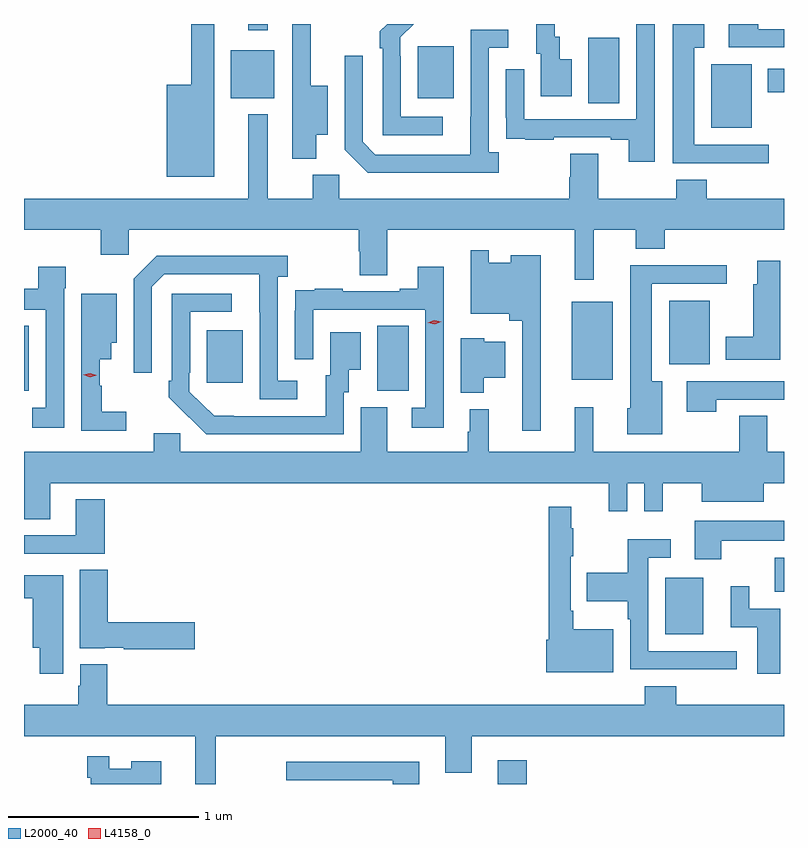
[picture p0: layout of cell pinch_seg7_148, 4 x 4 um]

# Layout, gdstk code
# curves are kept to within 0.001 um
import gdstk
lib = gdstk.Library(unit=1e-6, precision=1e-09)
def R(c, l, rs):  # rectangles x0, y0, x1, y1
    for r in rs: c.add(gdstk.rectangle(r[:2], r[2:], *l))
def P(c, l, *ps):  # polygons
    for p in ps: c.add(gdstk.Polygon(p, *l))
L2000_40 = (2000, 40)
L4158_0 = (4158, 0)

pinch_seg7_148 = lib.new_cell('pinch_seg7_148')
R(pinch_seg7_148, L2000_40, [(1037.345,1009.688,1037.498,1009.813), (1038.227,1010.477,1038.427,1010.773), (1038.803,1010.699,1038.852,1010.878), (1034.852,1011.757,1034.878,1012.1), (1036.712,1011.757,1036.876,1012.1), (1035.815,1011.801,1036.003,1012.075), (1037.735,1011.815,1037.95,1012.225), (1038.248,1011.896,1038.46,1012.231), (1038.47,1013.141,1038.682,1013.476), (1037.822,1013.272,1037.986,1013.616), (1035.941,1013.297,1036.168,1013.551), (1036.925,1013.297,1037.113,1013.572), (1038.767,1013.33,1038.852,1013.452), (1036.031,1013.655,1036.135,1013.688)])
P(pinch_seg7_148, L2000_40, [(1038.772,1013.052),(1038.379,1013.052),(1038.379,1013.564),(1038.433,1013.564),(1038.433,1013.688),(1038.266,1013.688),(1038.266,1012.955),(1038.772,1012.955)],
  [(1038.171,1013.688),(1038.075,1013.688),(1038.075,1013.187),(1037.484,1013.187),(1037.484,1013.449),(1037.388,1013.449),(1037.388,1013.194),(1037.389,1013.194),(1037.389,1013.085),(1037.491,1013.085),(1037.491,1013.079),(1037.639,1013.079),(1037.639,1013.091),(1037.939,1013.091),(1037.939,1013.079),(1038.035,1013.079),(1038.035,1012.962),(1038.171,1012.962)],
  [(1037.734,1013.503),(1037.671,1013.503),(1037.671,1013.622),(1037.646,1013.622),(1037.646,1013.688),(1037.549,1013.688),(1037.549,1013.532),(1037.573,1013.532),(1037.573,1013.307),(1037.734,1013.307)],
  [(1035.853,1013.688),(1035.732,1013.688),(1035.732,1013.368),(1035.602,1013.368),(1035.602,1012.883),(1035.853,1012.883)],
  [(1037.055,1013.199),(1036.836,1013.199),(1036.836,1013.519),(1036.833,1013.519),(1036.833,1013.619),(1036.902,1013.688),(1036.764,1013.688),(1036.725,1013.649),(1036.725,1013.561),(1036.74,1013.561),(1036.74,1013.103),(1037.055,1013.103)],
  [(1036.39,1013.105),(1036.45,1013.105),(1036.45,1013.362),(1036.361,1013.362),(1036.361,1013.688),(1036.263,1013.688),(1036.263,1012.979),(1036.39,1012.979)],
  [(1038.852,1013.661),(1038.717,1013.661),(1038.717,1013.688),(1038.561,1013.688),(1038.561,1013.565),(1038.852,1013.565)],
  [(1037.35,1013.014),(1037.298,1013.014),(1037.298,1013.562),(1037.401,1013.562),(1037.401,1013.658),(1037.202,1013.658),(1037.201,1013.001),(1036.701,1013.001),(1036.635,1013.067),(1036.635,1013.521),(1036.539,1013.521),(1036.539,1013.025),(1036.66,1012.904),(1037.35,1012.904)],
  [(1037.85,1012.604),(1038.071,1012.604),(1038.071,1012.505),(1038.224,1012.505),(1038.224,1012.604),(1038.852,1012.604),(1038.852,1012.768),(1038.446,1012.768),(1038.446,1012.867),(1038.286,1012.867),(1038.286,1012.768),(1037.875,1012.768),(1037.875,1013.006),(1037.728,1013.006),(1037.728,1012.881),(1037.723,1012.881),(1037.723,1012.768),(1036.512,1012.768),(1036.512,1012.894),(1036.373,1012.894),(1036.373,1012.768),(1036.135,1012.768),(1036.135,1013.212),(1036.031,1013.212),(1036.031,1012.768),(1034.852,1012.768),(1034.852,1012.604),(1035.256,1012.604),(1035.256,1012.473),(1035.402,1012.473),(1035.402,1012.604),(1036.613,1012.604),(1036.613,1012.491),(1036.618,1012.491),(1036.618,1012.366),(1036.765,1012.366),(1036.765,1012.604),(1037.75,1012.604),(1037.75,1012.341),(1037.85,1012.341)],
  [(1037.572,1012.471),(1037.414,1012.471),(1037.414,1012.432),(1037.298,1012.432),(1037.298,1012.498),(1037.202,1012.498),(1037.202,1012.163),(1037.407,1012.163),(1037.407,1012.127),(1037.475,1012.127),(1037.475,1011.546),(1037.572,1011.546)],
  [(1036.291,1011.81),(1036.188,1011.81),(1036.188,1012.358),(1036.24,1012.358),(1036.24,1012.468),(1035.55,1012.468),(1035.429,1012.347),(1035.429,1011.852),(1035.525,1011.852),(1035.525,1012.305),(1035.591,1012.371),(1036.091,1012.371),(1036.092,1011.714),(1036.291,1011.714)],
  [(1038.832,1012.441),(1038.71,1012.441),(1038.71,1012.317),(1038.689,1012.317),(1038.689,1012.042),(1038.545,1012.042),(1038.545,1011.92),(1038.832,1011.92)],
  [(1038.211,1011.808),(1038.157,1011.808),(1038.157,1012.32),(1038.55,1012.32),(1038.55,1012.418),(1038.044,1012.418),(1038.044,1011.666),(1038.026,1011.666),(1038.026,1011.53),(1038.211,1011.53)],
  [(1035.063,1012.298),(1035.072,1012.298),(1035.072,1012.411),(1034.927,1012.411),(1034.927,1012.294),(1034.852,1012.294),(1034.852,1012.185),(1034.967,1012.185),(1034.967,1011.669),(1034.895,1011.669),(1034.895,1011.564),(1035.063,1011.564)],
  [(1037.061,1012.188),(1037.062,1012.188),(1037.062,1012.411),(1036.925,1012.411),(1036.925,1012.294),(1036.829,1012.294),(1036.829,1012.281),(1036.529,1012.281),(1036.529,1012.294),(1036.381,1012.294),(1036.381,1012.287),(1036.279,1012.287),(1036.279,1012.178),(1036.278,1012.178),(1036.278,1011.924),(1036.374,1011.924),(1036.374,1012.185),(1036.965,1012.185),(1036.965,1011.669),(1036.893,1011.669),(1036.893,1011.564),(1037.061,1011.564)],
  [(1036.536,1011.75),(1036.561,1011.75),(1036.561,1011.869),(1036.624,1011.869),(1036.624,1012.066),(1036.463,1012.066),(1036.463,1011.84),(1036.439,1011.84),(1036.439,1011.624),(1035.852,1011.625),(1035.723,1011.753),(1035.723,1011.853),(1035.726,1011.853),(1035.726,1012.173),(1035.946,1012.173),(1035.946,1012.269),(1035.63,1012.269),(1035.63,1011.811),(1035.615,1011.811),(1035.615,1011.723),(1035.812,1011.528),(1036.536,1011.528)],
  [(1035.391,1011.647),(1035.262,1011.647),(1035.262,1011.783),(1035.251,1011.783),(1035.251,1011.923),(1035.31,1011.923),(1035.31,1012.01),(1035.34,1012.01),(1035.34,1012.267),(1035.152,1012.267),(1035.152,1012.027),(1035.153,1012.027),(1035.153,1011.546),(1035.391,1011.546)],
  [(1037.272,1011.827),(1037.386,1011.827),(1037.386,1012.015),(1037.274,1012.015),(1037.274,1012.033),(1037.15,1012.033),(1037.15,1011.746),(1037.272,1011.746)],
  [(1038.495,1011.711),(1038.852,1011.711),(1038.852,1011.807),(1038.339,1011.807),(1038.339,1011.648),(1038.495,1011.648)],
  [(1037.93,1011.123),(1038.027,1011.123),(1038.027,1011.272),(1038.117,1011.272),(1038.117,1011.123),(1038.215,1011.123),(1038.215,1011.272),(1038.419,1011.272),(1038.419,1011.173),(1038.745,1011.173),(1038.745,1011.272),(1038.852,1011.272),(1038.852,1011.436),(1038.763,1011.436),(1038.763,1011.626),(1038.616,1011.626),(1038.616,1011.436),(1037.848,1011.436),(1037.848,1011.67),(1037.75,1011.67),(1037.75,1011.436),(1037.297,1011.436),(1037.297,1011.661),(1037.198,1011.661),(1037.198,1011.543),(1037.187,1011.543),(1037.187,1011.436),(1036.765,1011.436),(1036.765,1011.672),(1036.625,1011.672),(1036.625,1011.436),(1035.675,1011.436),(1035.675,1011.534),(1035.536,1011.534),(1035.536,1011.436),(1034.852,1011.436),(1034.852,1011.082),(1034.989,1011.082),(1034.989,1011.272),(1037.93,1011.272)],
  [(1035.278,1011.187),(1035.125,1011.187),(1035.125,1010.997),(1034.852,1010.997),(1034.852,1010.901),(1035.278,1010.901)],
  [(1037.953,1010.503),(1037.743,1010.503),(1037.743,1010.599),(1037.73,1010.599),(1037.73,1010.887),(1037.743,1010.887),(1037.743,1011.035),(1037.732,1011.035),(1037.732,1011.148),(1037.614,1011.148),(1037.614,1010.447),(1037.6,1010.447),(1037.6,1010.276),(1037.953,1010.276)],
  [(1038.523,1010.969),(1038.852,1010.969),(1038.852,1011.073),(1038.383,1011.073),(1038.383,1010.871),(1038.523,1010.871)],
  [(1038.603,1010.388),(1038.138,1010.388),(1038.138,1010.88),(1038.256,1010.88),(1038.256,1010.977),(1038.03,1010.977),(1038.03,1010.799),(1037.815,1010.799),(1037.815,1010.651),(1038.03,1010.651),(1038.03,1010.555),(1038.042,1010.555),(1038.042,1010.292),(1038.367,1010.292),(1038.367,1010.291),(1038.603,1010.291)],
  [(1035.751,1010.54),(1035.293,1010.54),(1035.293,1010.816),(1035.146,1010.816),(1035.146,1010.402),(1035.276,1010.402),(1035.276,1010.405),(1035.376,1010.405),(1035.376,1010.398),(1035.751,1010.398)],
  [(1035.058,1010.788),(1034.852,1010.788),(1034.852,1010.666),(1034.897,1010.666),(1034.897,1010.405),(1034.936,1010.405),(1034.936,1010.268),(1035.058,1010.268)],
  [(1038.832,1010.61),(1038.67,1010.61),(1038.67,1010.728),(1038.572,1010.728),(1038.572,1010.514),(1038.71,1010.514),(1038.71,1010.268),(1038.832,1010.268)],
  [(1035.862,1009.94),(1037.069,1009.94),(1037.069,1009.746),(1037.209,1009.746),(1037.209,1009.94),(1038.852,1009.94),(1038.852,1010.104),(1038.284,1010.104),(1038.284,1010.203),(1038.119,1010.203),(1038.119,1010.104),(1035.29,1010.104),(1035.29,1010.317),(1035.149,1010.317),(1035.149,1010.205),(1035.137,1010.205),(1035.137,1010.104),(1034.852,1010.104),(1034.852,1009.94),(1035.752,1009.94),(1035.752,1009.688),(1035.862,1009.688)],
  [(1035.574,1009.807),(1035.416,1009.807),(1035.416,1009.768),(1035.3,1009.768),(1035.3,1009.834),(1035.184,1009.834),(1035.184,1009.721),(1035.204,1009.721),(1035.204,1009.688),(1035.574,1009.688)],
  [(1036.933,1009.804),(1036.233,1009.804),(1036.233,1009.707),(1036.793,1009.707),(1036.793,1009.688),(1036.933,1009.688)])
P(pinch_seg7_148, L4158_0, [(1035.2,1011.83),(1035.165,1011.842),(1035.165,1011.842),(1035.165,1011.842),(1035.201,1011.85),(1035.236,1011.839),(1035.236,1011.839),(1035.236,1011.839)],
  [(1037.013,1012.108),(1036.976,1012.116),(1036.976,1012.116),(1036.976,1012.116),(1037.011,1012.128),(1037.048,1012.121),(1037.048,1012.121),(1037.048,1012.121)])

lib.write_gds('pinch_seg7_148.gds')
